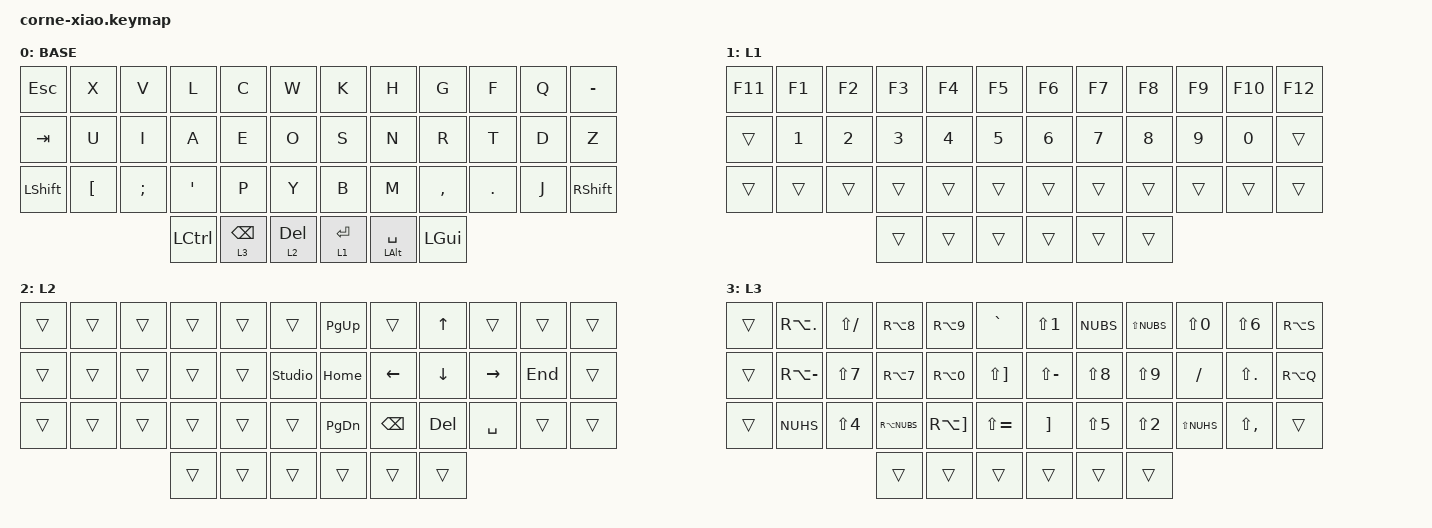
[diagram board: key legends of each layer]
#include <behaviors.dtsi>
#include <dt-bindings/zmk/keys.h>

#define BASE 0
#define L1 1
#define L2 2
#define L3 3

&mt {
  tapping-term-ms = <200>;
  flavor = "hold-preferred";
};

/ {
  keymap {
    compatible = "zmk,keymap";

    base_layer {
      display-name = "BASE";
      bindings = <
        &kp ESC     &kp X       &kp V       &kp L        &kp C      &kp W          &kp K        &kp H      &kp G       &kp F      &kp Q      &kp MINUS
        &kp TAB     &kp U       &kp I       &kp A        &kp E      &kp O          &kp S        &kp N      &kp R       &kp T      &kp D      &kp Z
        &kp LSHFT   &kp LBKT    &kp SEMI    &kp SQT      &kp P      &kp Y          &kp B        &kp M      &kp COMMA   &kp DOT    &kp J      &kp RSHFT
                                      &kp LCTRL  &lt L3 BSPC  &lt L2 DEL   &lt L1 RET  &mt LALT SPACE  &kp LGUI
      >;
    };

    layer_1 {
      display-name = "L1";
      bindings = <
        &kp F11     &kp F1      &kp F2      &kp F3       &kp F4     &kp F5         &kp F6       &kp F7     &kp F8      &kp F9     &kp F10    &kp F12
        &trans      &kp N1      &kp N2      &kp N3       &kp N4     &kp N5         &kp N6       &kp N7     &kp N8      &kp N9     &kp N0     &trans
        &trans      &trans      &trans      &trans       &trans     &trans         &trans       &trans     &trans      &trans     &trans     &trans
                                      &trans     &trans       &trans      &trans      &trans          &trans
      >;
    };

    layer_2 {
      display-name = "L2";
      bindings = <
        &trans      &trans      &trans      &trans       &trans     &trans         &kp PG_UP    &trans     &kp UP      &trans     &trans     &trans
        &trans      &trans      &trans      &trans       &trans     &studio_unlock         &kp HOME     &kp LEFT   &kp DOWN    &kp RIGHT  &kp END    &trans
        &trans      &trans      &trans      &trans       &trans     &trans         &kp PG_DN    &kp BSPC   &kp DEL     &kp SPACE  &trans     &trans
                                      &trans     &trans       &trans      &trans      &trans          &trans
      >;
    };

    layer_3 {
      display-name = "L3";
      bindings = <
        &trans      &kp RA(DOT)     &kp LS(FSLH)   &kp RA(N8)      &kp RA(N9)      &kp GRAVE        &kp LS(N1)      &kp NUBS        &kp LS(NUBS)   &kp LS(N0)    &kp LS(N6)    &kp RA(S)
        &trans      &kp RA(MINUS)   &kp LS(N7)     &kp RA(N7)      &kp RA(N0)      &kp LS(RBKT)     &kp LS(MINUS)   &kp LS(N8)      &kp LS(N9)     &kp FSLH      &kp LS(DOT)   &kp RA(Q)
        &trans      &kp NUHS        &kp LS(N4)     &kp RA(NUBS)    &kp RA(RBKT)    &kp LS(EQUAL)    &kp RBKT        &kp LS(N5)      &kp LS(N2)     &kp LS(NUHS)  &kp LS(COMMA) &trans
                                           &trans         &trans          &trans          &trans           &trans           &trans
      >;
    };
  };
};
